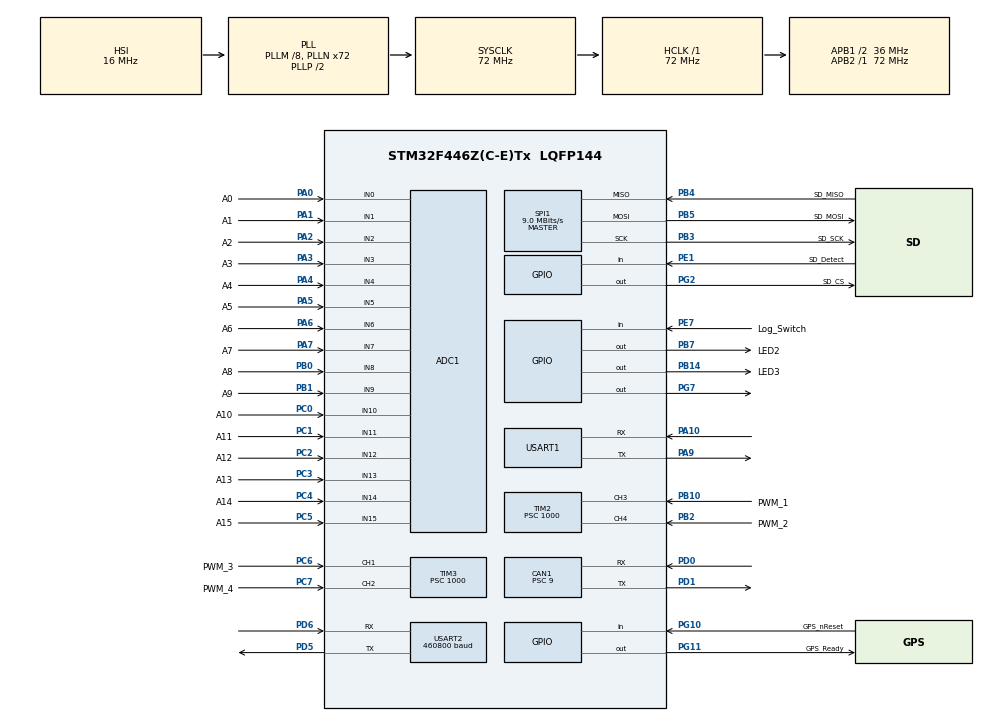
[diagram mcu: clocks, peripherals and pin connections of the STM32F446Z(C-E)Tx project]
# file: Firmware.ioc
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ADC1.Channel-0\#ChannelRegularConversion=ADC_CHANNEL_0
ADC1.Channel-1\#ChannelRegularConversion=ADC_CHANNEL_1
ADC1.Channel-10\#ChannelRegularConversion=ADC_CHANNEL_10
ADC1.Channel-11\#ChannelRegularConversion=ADC_CHANNEL_11
ADC1.Channel-12\#ChannelRegularConversion=ADC_CHANNEL_12
ADC1.Channel-13\#ChannelRegularConversion=ADC_CHANNEL_13
ADC1.Channel-14\#ChannelRegularConversion=ADC_CHANNEL_14
ADC1.Channel-15\#ChannelRegularConversion=ADC_CHANNEL_15
ADC1.Channel-2\#ChannelRegularConversion=ADC_CHANNEL_2
ADC1.Channel-3\#ChannelRegularConversion=ADC_CHANNEL_3
ADC1.Channel-4\#ChannelRegularConversion=ADC_CHANNEL_4
ADC1.Channel-5\#ChannelRegularConversion=ADC_CHANNEL_5
ADC1.Channel-6\#ChannelRegularConversion=ADC_CHANNEL_6
ADC1.Channel-7\#ChannelRegularConversion=ADC_CHANNEL_7
ADC1.Channel-8\#ChannelRegularConversion=ADC_CHANNEL_8
ADC1.Channel-9\#ChannelRegularConversion=ADC_CHANNEL_9
ADC1.ClockPrescaler=ADC_CLOCK_SYNC_PCLK_DIV4
ADC1.ContinuousConvMode=ENABLE
ADC1.DMAContinuousRequests=ENABLE
ADC1.NbrOfConversion=16
ADC1.NbrOfConversionFlag=1
ADC1.Rank-0\#ChannelRegularConversion=1
ADC1.Rank-1\#ChannelRegularConversion=2
ADC1.Rank-10\#ChannelRegularConversion=11
ADC1.Rank-11\#ChannelRegularConversion=12
ADC1.Rank-12\#ChannelRegularConversion=13
ADC1.Rank-13\#ChannelRegularConversion=14
ADC1.Rank-14\#ChannelRegularConversion=15
ADC1.Rank-15\#ChannelRegularConversion=16
ADC1.Rank-2\#ChannelRegularConversion=3
ADC1.Rank-3\#ChannelRegularConversion=4
ADC1.Rank-4\#ChannelRegularConversion=5
ADC1.Rank-5\#ChannelRegularConversion=6
ADC1.Rank-6\#ChannelRegularConversion=7
ADC1.Rank-7\#ChannelRegularConversion=8
ADC1.Rank-8\#ChannelRegularConversion=9
ADC1.Rank-9\#ChannelRegularConversion=10
ADC1.SamplingTime-0\#ChannelRegularConversion=ADC_SAMPLETIME_144CYCLES
ADC1.SamplingTime-1\#ChannelRegularConversion=ADC_SAMPLETIME_144CYCLES
ADC1.SamplingTime-10\#ChannelRegularConversion=ADC_SAMPLETIME_144CYCLES
ADC1.SamplingTime-11\#ChannelRegularConversion=ADC_SAMPLETIME_144CYCLES
ADC1.SamplingTime-12\#ChannelRegularConversion=ADC_SAMPLETIME_144CYCLES
ADC1.SamplingTime-13\#ChannelRegularConversion=ADC_SAMPLETIME_144CYCLES
ADC1.SamplingTime-14\#ChannelRegularConversion=ADC_SAMPLETIME_144CYCLES
ADC1.SamplingTime-15\#ChannelRegularConversion=ADC_SAMPLETIME_144CYCLES
ADC1.SamplingTime-2\#ChannelRegularConversion=ADC_SAMPLETIME_144CYCLES
ADC1.SamplingTime-3\#ChannelRegularConversion=ADC_SAMPLETIME_144CYCLES
ADC1.SamplingTime-4\#ChannelRegularConversion=ADC_SAMPLETIME_144CYCLES
ADC1.SamplingTime-5\#ChannelRegularConversion=ADC_SAMPLETIME_144CYCLES
ADC1.SamplingTime-6\#ChannelRegularConversion=ADC_SAMPLETIME_144CYCLES
ADC1.SamplingTime-7\#ChannelRegularConversion=ADC_SAMPLETIME_144CYCLES
ADC1.SamplingTime-8\#ChannelRegularConversion=ADC_SAMPLETIME_144CYCLES
ADC1.SamplingTime-9\#ChannelRegularConversion=ADC_SAMPLETIME_144CYCLES
ADC1.ScanConvMode=ENABLE
ADC1.master=1
CAN1.ABOM=ENABLE
CAN1.BS1=CAN_BS1_6TQ
CAN1.CalculateTimeQuantum=250.0
CAN1.Prescaler=9
Dma.ADC1.0.Direction=DMA_PERIPH_TO_MEMORY
Dma.ADC1.0.FIFOMode=DMA_FIFOMODE_DISABLE
Dma.ADC1.0.Instance=DMA2_Stream0
Dma.ADC1.0.MemDataAlignment=DMA_MDATAALIGN_HALFWORD
Dma.ADC1.0.MemInc=DMA_MINC_ENABLE
Dma.ADC1.0.Mode=DMA_CIRCULAR
Dma.ADC1.0.PeriphDataAlignment=DMA_PDATAALIGN_HALFWORD
Dma.ADC1.0.PeriphInc=DMA_PINC_DISABLE
Dma.ADC1.0.Priority=DMA_PRIORITY_LOW
Dma.Request0=ADC1
Dma.Request1=USART2_RX
Dma.USART2_RX.1.Direction=DMA_PERIPH_TO_MEMORY
Dma.USART2_RX.1.FIFOMode=DMA_FIFOMODE_DISABLE
Dma.USART2_RX.1.Instance=DMA1_Stream5
Dma.USART2_RX.1.MemDataAlignment=DMA_MDATAALIGN_BYTE
Dma.USART2_RX.1.MemInc=DMA_MINC_ENABLE
Dma.USART2_RX.1.Mode=DMA_NORMAL
Dma.USART2_RX.1.PeriphDataAlignment=DMA_PDATAALIGN_BYTE
Dma.USART2_RX.1.PeriphInc=DMA_PINC_DISABLE
Dma.USART2_RX.1.Priority=DMA_PRIORITY_LOW
FATFS._MAX_SS=4096
FATFS._USE_LFN=1
Mcu.Family=STM32F4
Mcu.Name=STM32F446Z(C-E)Tx
Mcu.Package=LQFP144
NVIC.CAN1_RX0_IRQn=true\:1\:0\:true\:false\:true\:true\:true
NVIC.DMA1_Stream5_IRQn=true\:0\:0\:false\:false\:true\:false\:true
NVIC.DMA2_Stream0_IRQn=true\:0\:0\:false\:false\:true\:false\:true
NVIC.PriorityGroup=NVIC_PRIORITYGROUP_4
NVIC.TIM2_IRQn=true\:2\:0\:true\:false\:true\:true\:true
NVIC.TIM3_IRQn=true\:2\:0\:true\:false\:true\:true\:true
NVIC.TIM6_DAC_IRQn=true\:0\:0\:false\:false\:true\:true\:true
NVIC.USART2_IRQn=true\:0\:0\:false\:false\:true\:true\:true
PA0-WKUP.GPIO_Label=A0
PA0-WKUP.Signal=ADCx_IN0
PA1.GPIO_Label=A1
PA1.Signal=ADCx_IN1
PA10.Mode=Asynchronous
PA10.Signal=USART1_RX
PA13.Mode=Serial_Wire
PA13.Signal=SYS_JTMS-SWDIO
PA14.Mode=Serial_Wire
PA14.Signal=SYS_JTCK-SWCLK
PA2.GPIO_Label=A2
PA2.Signal=ADCx_IN2
PA3.GPIO_Label=A3
PA3.Signal=ADCx_IN3
PA4.GPIO_Label=A4
PA4.Signal=ADCx_IN4
PA5.GPIO_Label=A5
PA5.Signal=ADCx_IN5
PA6.GPIO_Label=A6
PA6.Signal=ADCx_IN6
PA7.GPIO_Label=A7
PA7.Signal=ADCx_IN7
PA9.Mode=Asynchronous
PA9.Signal=USART1_TX
PB0.GPIO_Label=A8
PB0.Signal=ADCx_IN8
PB1.GPIO_Label=A9
PB1.Signal=ADCx_IN9
PB10.GPIO_Label=PWM_1
PB10.GPIO_PuPd=GPIO_NOPULL
PB10.Signal=S_TIM2_CH3
PB14.GPIO_Label=LED3
PB14.Signal=GPIO_Output
PB2.GPIO_Label=PWM_2
PB2.GPIO_PuPd=GPIO_NOPULL
PB2.Signal=S_TIM2_CH4
PB3.GPIO_Label=SD_SCK
PB3.Mode=Full_Duplex_Master
PB3.Signal=SPI1_SCK
PB4.GPIO_Label=SD_MISO
PB4.Mode=Full_Duplex_Master
PB4.Signal=SPI1_MISO
PB5.GPIO_Label=SD_MOSI
PB5.Mode=Full_Duplex_Master
PB5.Signal=SPI1_MOSI
PB7.GPIO_Label=LED2
PB7.Signal=GPIO_Output
PC0.GPIO_Label=A10
PC0.Signal=ADCx_IN10
PC1.GPIO_Label=A11
PC1.Signal=ADCx_IN11
PC14-OSC32_IN.Mode=LSE-External-Oscillator
PC14-OSC32_IN.Signal=RCC_OSC32_IN
PC15-OSC32_OUT.Mode=LSE-External-Oscillator
PC15-OSC32_OUT.Signal=RCC_OSC32_OUT
PC2.GPIO_Label=A12
PC2.Signal=ADCx_IN12
PC3.GPIO_Label=A13
PC3.Signal=ADCx_IN13
PC4.GPIO_Label=A14
PC4.Signal=ADCx_IN14
PC5.GPIO_Label=A15
PC5.Signal=ADCx_IN15
PC6.GPIO_Label=PWM_3
PC6.GPIO_PuPd=GPIO_NOPULL
PC6.Signal=S_TIM3_CH1
PC7.GPIO_Label=PWM_4
PC7.GPIO_PuPd=GPIO_NOPULL
PC7.Signal=S_TIM3_CH2
PD0.GPIO_PuPd=GPIO_PULLUP
PD0.Mode=Master
PD0.Signal=CAN1_RX
PD1.GPIO_PuPd=GPIO_PULLUP
PD1.Mode=Master
PD1.Signal=CAN1_TX
PD5.Mode=Asynchronous
PD5.Signal=USART2_TX
PD6.Mode=Asynchronous
PD6.Signal=USART2_RX
PE1.GPIO_Label=SD_Detect
PE1.GPIO_PuPd=GPIO_PULLUP
PE1.Signal=GPIO_Input
PE7.GPIO_Label=Log_Switch
PE7.Signal=GPIO_Input
PG10.GPIO_Label=GPS_nReset
PG10.Signal=GPIO_Input
PG11.GPIO_Label=GPS_Ready
PG11.PinState=GPIO_PIN_SET
PG11.Signal=GPIO_Output
PG2.GPIO_Label=SD_CS
PG2.Signal=GPIO_Output
PG7.Signal=GPIO_Output
ProjectManager.HeapSize=0x200
ProjectManager.StackSize=0x400
ProjectManager.TargetToolchain=STM32CubeIDE
RCC.AHBFreq_Value=72000000
RCC.APB1CLKDivider=RCC_HCLK_DIV2
RCC.APB1Freq_Value=36000000
RCC.APB1TimFreq_Value=72000000
RCC.APB2Freq_Value=72000000
RCC.APB2TimFreq_Value=72000000
RCC.CortexFreq_Value=72000000
RCC.HCLKFreq_Value=72000000
RCC.HSE_VALUE=25000000
RCC.PLLM=8
RCC.PLLN=72
RCC.RCC_RTC_Clock_SourceVirtual=RCC_RTCCLKSOURCE_LSE
RCC.SYSCLKFreq_VALUE=72000000
RCC.SYSCLKSource=RCC_SYSCLKSOURCE_PLLCLK
RCC.USBFreq_Value=72000000
RCC.VCOOutputFreq_Value=144000000
RTC.Date=5
RTC.HourFormat=RTC_HOURFORMAT_24
RTC.Hours=16
RTC.Minutes=48
RTC.Month=RTC_MONTH_MARCH
RTC.Seconds=30
RTC.WeekDay=RTC_WEEKDAY_THURSDAY
RTC.Year=20
SH.ADCx_IN0.0=ADC1_IN0,IN0
SH.ADCx_IN1.0=ADC1_IN1,IN1
SH.ADCx_IN10.0=ADC1_IN10,IN10
SH.ADCx_IN11.0=ADC1_IN11,IN11
SH.ADCx_IN12.0=ADC1_IN12,IN12
SH.ADCx_IN13.0=ADC1_IN13,IN13
SH.ADCx_IN14.0=ADC1_IN14,IN14
SH.ADCx_IN15.0=ADC1_IN15,IN15
SH.ADCx_IN2.0=ADC1_IN2,IN2
SH.ADCx_IN3.0=ADC1_IN3,IN3
SH.ADCx_IN4.0=ADC1_IN4,IN4
SH.ADCx_IN5.0=ADC1_IN5,IN5
SH.ADCx_IN6.0=ADC1_IN6,IN6
SH.ADCx_IN7.0=ADC1_IN7,IN7
SH.ADCx_IN8.0=ADC1_IN8,IN8
SH.ADCx_IN9.0=ADC1_IN9,IN9
SH.S_TIM2_CH3.0=TIM2_CH3,Input_Capture3_from_TI3
SH.S_TIM2_CH4.0=TIM2_CH4,Input_Capture4_from_TI4
SH.S_TIM3_CH1.0=TIM3_CH1,Input_Capture1_from_TI1
SH.S_TIM3_CH2.0=TIM3_CH2,Input_Capture2_from_TI2
SPI1.BaudRatePrescaler=SPI_BAUDRATEPRESCALER_8
SPI1.CalculateBaudRate=9.0 MBits/s
SPI1.Direction=SPI_DIRECTION_2LINES
SPI1.Mode=SPI_MODE_MASTER
SPI1.VirtualType=VM_MASTER
TIM2.Channel-Input_Capture3_from_TI3=TIM_CHANNEL_3
TIM2.Channel-Input_Capture4_from_TI4=TIM_CHANNEL_4
TIM2.Period=0xffff
TIM2.Prescaler=1000
TIM3.Channel-Input_Capture1_from_TI1=TIM_CHANNEL_1
TIM3.Channel-Input_Capture2_from_TI2=TIM_CHANNEL_2
TIM3.Period=0xffff
TIM3.Prescaler=1000
TIM6.AutoReloadPreload=TIM_AUTORELOAD_PRELOAD_DISABLE
TIM6.Period=7199
TIM6.Prescaler=224
TIM6.TIM_MasterOutputTrigger=TIM_TRGO_UPDATE
USART1.VirtualMode=VM_ASYNC
USART2.BaudRate=460800
USART2.VirtualMode=VM_ASYNC
VP_FATFS_VS_Generic.Mode=User_defined
VP_RTC_VS_RTC_Activate.Mode=RTC_Enabled
VP_RTC_VS_RTC_Calendar.Mode=RTC_Calendar
VP_TIM6_VS_ClockSourceINT.Mode=Enable_Timer
board=custom

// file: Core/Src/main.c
/* USER CODE BEGIN Header */
/**
 ******************************************************************************
 * @file           : main.c
 * @brief          : Main program body
 ******************************************************************************
 * @attention
 *
 * <h2><center>&copy; Copyright (c) 2020 STMicroelectronics.
 * All rights reserved.</center></h2>
 *
 * This software component is licensed by ST under BSD 3-Clause license,
 * the "License"; You may not use this file except in compliance with the
 * License. You may obtain a copy of the License at:
 *                        opensource.org/licenses/BSD-3-Clause
 *
 ******************************************************************************
 */
/* USER CODE END Header */

#include "main.h"
#include "fatfs.h"

/* USER CODE BEGIN Includes */
#include "fatfs_sd.h"
#include "string.h"
/* USER CODE END Includes */

/* USER CODE BEGIN PD */
#define ADC_BUF_LEN 1024
#define uart_rx_buffer_len 256
/* USER CODE END PD */

ADC_HandleTypeDef hadc1;
DMA_HandleTypeDef hdma_adc1;

CAN_HandleTypeDef hcan1;

RTC_HandleTypeDef hrtc;

SPI_HandleTypeDef hspi1;

TIM_HandleTypeDef htim2;
TIM_HandleTypeDef htim3;
TIM_HandleTypeDef htim6;

UART_HandleTypeDef huart1;
UART_HandleTypeDef huart2;
DMA_HandleTypeDef hdma_usart2_rx;

void SystemClock_Config(void);
static void MX_GPIO_Init(void);
static void MX_DMA_Init(void);
static void MX_ADC1_Init(void);
static void MX_SPI1_Init(void);
static void MX_TIM6_Init(void);
static void MX_USART1_UART_Init(void);
static void MX_RTC_Init(void);
static void MX_USART2_UART_Init(void);
static void MX_CAN1_Init(void);
static void MX_TIM2_Init(void);
static void MX_TIM3_Init(void);

/* USER CODE BEGIN 0 */
FATFS fs;
FIL fil;
FRESULT fresult;

UINT br, bw;

FATFS *pfs;
DWORD fre_clust;
uint32_t total, free_space;

char timestamp[20]; //Char array used to store a timestamp from the RTC
char datalogName[32]; //The name of the datalog .csv file
char headers[1024]; //The headers to be applied to the .csv
char latitude[20]; //The latitude received from the GPS
char longitude[20]; //The longitude received from the GPS
char altitude[20]; //The latitude received from the GPS
float scaling_factors[20]; //The scaling factors to be applied to the various data, 0-15 for ADC, 16-19 for PWM
uint8_t CANresponse[50]; //The response received from the CAN
CAN_RxHeaderTypeDef RxCanHeader; //The header associated with the CAN data

uint32_t raw_ADC[16]; //The raw ADC data before any modification

uint32_t total_ADC[16]; //the ADC data totaled
float ADC_Array[16]; //The useful ADC data
uint16_t adc_buf[ADC_BUF_LEN]; //Circular buffer collecting ADC data
char uart_rx_buffer[uart_rx_buffer_len]; //Circular buffer collecting UART data
char gps_msg[uart_rx_buffer_len]; //The uart message received from the GPS
int initialized = 0; //Boolean to check if initialization is done, lets the interrupts run
int counter = 5; //Counter used to create a 10Hz function
float ADC_MAX = 3755; //The max value the ADC can read

//PWM sample arrays
uint32_t IC_Value1[4];
uint32_t IC_Value2[4];
uint32_t difference[4];
uint32_t frequency[4];
uint8_t is_first[4];

void HAL_TIM_IC_CaptureCallback(TIM_HandleTypeDef *htim) { //input capture callback. gets raised by an interrupt during a rising edge
	if (initialized) {
		uint32_t  channel = 0;
		uint32_t actual_channel=0;

		//set up the TIM_CHANNEL_X macro to make the HAL Happy
		if (htim->Channel == HAL_TIM_ACTIVE_CHANNEL_1){
			channel = 0;
			actual_channel = TIM_CHANNEL_1;
		} else if (htim->Channel == HAL_TIM_ACTIVE_CHANNEL_2){
			channel = 1;
			actual_channel = TIM_CHANNEL_2;
		} else if(htim->Channel == HAL_TIM_ACTIVE_CHANNEL_3){
			channel = 2;
			actual_channel = TIM_CHANNEL_3;
		} else if(htim->Channel == HAL_TIM_ACTIVE_CHANNEL_4){
			channel = 3;
			actual_channel = TIM_CHANNEL_4;
		} else {
			Error_Handler(); //otherwise, raise an error
		}

		if (is_first[channel] == 0) { //if this is the first rising edge of a pair
			IC_Value1[channel] = HAL_TIM_ReadCapturedValue(htim, actual_channel); //store the current time
			is_first[channel] = 1; //flag that the next value will be the second rising edge
		} else if (is_first[channel] == 1) { //if second rising edge of a pair
			IC_Value2[channel] = HAL_TIM_ReadCapturedValue(htim, actual_channel); //store the current time
			if (IC_Value2[channel] > IC_Value1[channel]) { //if the second time is after the first time
				difference[channel] = IC_Value2[channel] - IC_Value1[channel]; //calculate period
			} else if (IC_Value2[channel] < IC_Value1[channel]) { //if the first time is after the second time (can be caused due to interrupts)
				difference[channel] = ((0xffff - IC_Value1[channel]) + IC_Value2[channel]) + 1; //take absolute value and calculate period
			} else {
				Error_Handler(); //otherwise, raise an error
			}
			//frequency = apb2 tim clock/difference/prescaler
			frequency[channel] = 72000000 / difference[channel] / 1000;
			is_first[channel] = 0; //start flag again
		}
	}
}

void float_to_string(char *buffer, float input) {
	sprintf(buffer, "%.3f", input);
}
//Function called by 50Hz timer interrupt
void HAL_TIM_PeriodElapsedCallback(TIM_HandleTypeDef *htim) {
	if (initialized) { //if (initialized && HAL_GPIO_ReadPin(Log_Switch_GPIO_Port, Log_Switch_Pin)) { //Check if initialization is done
		GPIO_PinState SD_Connected = !HAL_GPIO_ReadPin(SD_Detect_GPIO_Port,
				SD_Detect_Pin); //active low
		HAL_GPIO_WritePin(LED2_GPIO_Port, LED2_Pin, GPIO_PIN_RESET);
		char sADC_Array[16][128]; //temp array used to store the scaled ADC data
		char sADC_msg[128] = { }; //Char array for the ADC data
		for (int i = 0; i < 16; i++) {
			ADC_Array[i] = raw_ADC[i] / ADC_MAX * 3.3 * scaling_factors[i]; //scale the array
			float_to_string(sADC_Array[i], ADC_Array[i]); //convert to string
			if (i == 0) { //Check if this is the first data value to ensure formating in the .csv file
				sprintf(sADC_msg, "%s", sADC_Array[i]); //append string to adc value string
			} else {
				sprintf(sADC_msg, "%s,%s", sADC_msg, sADC_Array[i]); //append string to adc value string
			}
		}

		//Apply the scaling factors to the PWM data
		uint32_t f1_scaled = frequency[0] * scaling_factors[16];
		uint32_t f2_scaled = frequency[1] * scaling_factors[17];
		uint32_t f3_scaled = frequency[2] * scaling_factors[18];
		uint32_t f4_scaled = frequency[3] * scaling_factors[19];

		char *msg[4096]; //msg used to write data to the .csv
		get_time(); //get an updated timestamp for the data
		sprintf(msg, "%s,%s,%s,%s,%s,%d,%d,%d,%d,%d\n", timestamp, latitude,
				longitude, altitude, sADC_msg, f1_scaled, f2_scaled, f3_scaled,
				f4_scaled, CANresponse[0]); //compile the data into the msg
		fresult = f_write(&fil, msg, strlen(msg), &bw); //write to the .csv
		counter--; //Decrement the counter, used to create a 10Hz function
		if (counter == 0) { //10hz function
			f_close(&fil); //close the sd card
			fresult = f_open(&fil, datalogName,
			FA_OPEN_APPEND | FA_READ | FA_WRITE); //re-open the sd card so new data can be written
			counter = 5; //reset the counter
		}
		if (SD_Connected) { //check if there is an SD card in the slot
			HAL_GPIO_WritePin(LED2_GPIO_Port, LED2_Pin, GPIO_PIN_SET);
		}
	}
}

//Function to get time from RTC
void get_time(void) {
	RTC_DateTypeDef gDate;
	RTC_TimeTypeDef gTime;
	/* Get the RTC current Time */
	HAL_RTC_GetTime(&hrtc, &gTime, RTC_FORMAT_BIN);
	/* Get the RTC current Date */
	HAL_RTC_GetDate(&hrtc, &gDate, RTC_FORMAT_BIN);
	/* Display time Format: hh:mm:ss */
	sprintf((char*) timestamp, "%02d-%02d-%02d_%02d-%02d-%2d", gTime.Hours,
			gTime.Minutes, gTime.Seconds, gDate.Date, gDate.Month,
			2000 + gDate.Year);
}

/* USER CODE END 0 */

int main(void)
{

  /* MCU Configuration--------------------------------------------------------*/

  /* Reset of all peripherals, Initializes the Flash interface and the Systick. */
  HAL_Init();

  /* Configure the system clock */
  SystemClock_Config();

  /* USER CODE BEGIN SysInit */
	for (int j = 0; j < 16; j++) {
		total_ADC[j] = 0;
	}
  /* USER CODE END SysInit */

  /* Initialize all configured peripherals */
  MX_GPIO_Init();
  MX_DMA_Init();
  MX_ADC1_Init();
  MX_SPI1_Init();
  MX_TIM6_Init();
  MX_FATFS_Init();
  MX_USART1_UART_Init();
  MX_RTC_Init();
  MX_USART2_UART_Init();
  MX_CAN1_Init();
  MX_TIM2_Init();
  MX_TIM3_Init();
  /* USER CODE BEGIN 2 */

	//Define the CAN Filter configuration
	CAN_FilterTypeDef filterConfig;

	filterConfig.FilterBank = 14;
	filterConfig.FilterActivation = ENABLE;
	filterConfig.FilterFIFOAssignment = 0;
	filterConfig.FilterMaskIdLow = 0x0000;
	filterConfig.FilterMaskIdHigh = 0x0000;
	filterConfig.FilterIdHigh = 0x0000;
	filterConfig.FilterIdLow = 0x0000;
	filterConfig.FilterScale = CAN_FILTERSCALE_32BIT;
	filterConfig.FilterMode = CAN_FILTERMODE_IDMASK;

	HAL_CAN_ConfigFilter(&hcan1, &filterConfig); //Assign the filter

	HAL_CAN_Start(&hcan1); //Activate CAN
	HAL_CAN_ActivateNotification(&hcan1, CAN_IT_RX_FIFO0_MSG_PENDING); //Activate CAN interrupts

	//Enable timer interrupts
	HAL_TIM_Base_Start_IT(&htim6);
	HAL_ADC_Start_DMA(&hadc1, (uint32_t*) adc_buf, ADC_BUF_LEN);
	HAL_UART_Receive_DMA(&huart2, uart_rx_buffer, uart_rx_buffer_len);

	//ENable PWM Interrupt
	HAL_StatusTypeDef PWM_Response1 = HAL_TIM_IC_Start_IT(&htim2, TIM_CHANNEL_4);
	HAL_StatusTypeDef PWM_Response2 = HAL_TIM_IC_Start_IT(&htim2, TIM_CHANNEL_3);
	HAL_StatusTypeDef PWM_Response3 = HAL_TIM_IC_Start_IT(&htim3, TIM_CHANNEL_1);
	HAL_StatusTypeDef PWM_Response4 = HAL_TIM_IC_Start_IT(&htim3, TIM_CHANNEL_2);

	//Build the name of the datalog from the time
	get_time();
	sprintf(datalogName, "datalog_%s.csv", timestamp);

	//Mount SD Card
	fresult = f_mount(&fs, "", 0);

	//Get total and free space
	f_getfree("", &fre_clust, &pfs);
	total = (uint32_t) ((pfs->n_fatent - 2) * pfs->csize * 0.5);
	free_space = (uint32_t) (fre_clust * pfs->csize * 0.5);

	//Open and read the config file from the SD card
	fresult = f_open(&fil, "config.txt",
	FA_OPEN_EXISTING | FA_READ); //Try to open an existing config file
	if (fresult == FR_OK) { //if the file exists, read from it
		int scaling_Index = 0; //index for the scaling_factors array
		char fileRead[512]; //temp buffer for the input from the config file
		while (f_gets(fileRead, 512, &fil)) { //Loop while there is more to read from the config
			if (fileRead[0] != '/' && fileRead[1] != '/'
					&& fileRead[0] != '\n') { //Ignore comment lines in the config
				char *temp;
				temp = strtok(fileRead, ":"); //Split the string along :
				temp = strtok(NULL, ":"); //Ignore the first :
				if (temp[strlen(temp) - 1] == '\n') { //Check for and remove unwanted \n
					temp[strlen(temp) - 1] = '\0';
				}
				if (strlen(headers) == 0) { //Check for the first header being written
					sprintf(headers, "%s", temp); //Write the header to the headers array
				} else {
					sprintf(headers, "%s,%s", headers, temp); //Append the header to the headers array
				}
				temp = strtok(NULL, ":"); //Get the final token
				if (temp != NULL) { //Check for a scaling factor
					scaling_factors[scaling_Index] = atof(temp); //Add the scaling factor to the list of scaling factor
					scaling_Index++;
				}
			}
		}
		//Write the headers into the file
		fresult = f_open(&fil, datalogName,
		FA_OPEN_APPEND | FA_READ | FA_WRITE);
		sprintf(headers, "%s\n", headers);
		fresult = f_write(&fil, headers, strlen(headers), &bw);
		f_close(&fil);
	} else { //Config file not found
		fresult = f_open(&fil, datalogName,
		FA_OPEN_APPEND | FA_READ | FA_WRITE);
		fresult =
				f_write(&fil,
						"config.txt not found it has been rebuilt. The data here has not been scaled and falls under default headers,\n",
						109, &bw); //Inform the user in the datalog that the config wasn't found
		fresult =
				f_write(&fil,
						"Timestamp,Latitude,Longitude,Altitude,A0,A1,A2,A3,A4,A5,A6,A7,A8,A9,A10,A11,A12,A13,A14,A15,PWM0,PWM1,PWM2,PWM3,\n",
						113, &bw); //Apply basic headers to the datalog

		f_close(&fil);
		fresult = f_open(&fil, "config.txt", //Reconstruct the config file
		FA_OPEN_ALWAYS | FA_READ | FA_WRITE);
		fresult =
				f_write(&fil,
						"//The Order of the headers must be maintained (GPS,Analog,PWM,CAN)\n//Lines with " "//" " "
								"at the beginning will be ignored\n//Do NOT include any commas in the headers\n\n//GPS Headers (Input:Header)\nTime:Timestamp\nLat:Latitude\nLong:Longitude\nAlt:Altitude\n\n//Analog Inputs (Input:Header:Scaling Factor)\nA0:N/A:1\nA1:N/A:1\nA2:N/A:1\nA3:N/A:1\nA4:N/A:1\nA5:N/A:1\nA6:N/A:1\nA7:N/A:1\nA8:N/A:1\nA9:N/A:1\nA10:N/A:1\nA11:N/A:1\n"
								"A12:N/A:1\nA13:N/A:1\nA14:N/A:1\nA15:N/A:1\n\n//PWM Inputs (Input:Header:Scaling Factor)\nPWM0:N/A:1\nPWM1:N/A:1\n"
								"PWM2:N/A:1\nPWM3:N/A:1", 529, &bw);
		f_close(&fil);

		for (int i = 0; i < 20; i++) { //set the scaling factors to 1 to retain raw data
			scaling_factors[i] = 1;
		}
	}

	//Assign values to lat, long, and alt
	sprintf(latitude, "0.00");
	sprintf(longitude, "0.00");
	sprintf(altitude, "0.00");

	//Open the datalog file in preparation for new data to be written
	fresult = f_open(&fil, datalogName,
	FA_OPEN_APPEND | FA_READ | FA_WRITE);

	//Initialization complete, allow interrupts to progress
	initialized = 1;

  /* USER CODE END 2 */

  /* Infinite loop */
	while (1) {

    /* USER CODE BEGIN 3 */
	}
	HAL_TIM_Base_Stop_IT(&htim6);
  /* USER CODE END 3 */
}

void SystemClock_Config(void)
{
  RCC_OscInitTypeDef RCC_OscInitStruct = {0};
  RCC_ClkInitTypeDef RCC_ClkInitStruct = {0};
  RCC_PeriphCLKInitTypeDef PeriphClkInitStruct = {0};

  /** Configure the main internal regulator output voltage
  */
  __HAL_RCC_PWR_CLK_ENABLE();
  __HAL_PWR_VOLTAGESCALING_CONFIG(PWR_REGULATOR_VOLTAGE_SCALE3);
  /** Initializes the CPU, AHB and APB busses clocks
  */
  RCC_OscInitStruct.OscillatorType = RCC_OSCILLATORTYPE_HSI|RCC_OSCILLATORTYPE_LSE;
  RCC_OscInitStruct.LSEState = RCC_LSE_ON;
  RCC_OscInitStruct.HSIState = RCC_HSI_ON;
  RCC_OscInitStruct.HSICalibrationValue = RCC_HSICALIBRATION_DEFAULT;
  RCC_OscInitStruct.PLL.PLLState = RCC_PLL_ON;
  RCC_OscInitStruct.PLL.PLLSource = RCC_PLLSOURCE_HSI;
  RCC_OscInitStruct.PLL.PLLM = 8;
  RCC_OscInitStruct.PLL.PLLN = 72;
  RCC_OscInitStruct.PLL.PLLP = RCC_PLLP_DIV2;
  RCC_OscInitStruct.PLL.PLLQ = 2;
  RCC_OscInitStruct.PLL.PLLR = 2;
  if (HAL_RCC_OscConfig(&RCC_OscInitStruct) != HAL_OK)
  {
    Error_Handler();
  }
  /** Initializes the CPU, AHB and APB busses clocks
  */
  RCC_ClkInitStruct.ClockType = RCC_CLOCKTYPE_HCLK|RCC_CLOCKTYPE_SYSCLK
                              |RCC_CLOCKTYPE_PCLK1|RCC_CLOCKTYPE_PCLK2;
  RCC_ClkInitStruct.SYSCLKSource = RCC_SYSCLKSOURCE_PLLCLK;
  RCC_ClkInitStruct.AHBCLKDivider = RCC_SYSCLK_DIV1;
  RCC_ClkInitStruct.APB1CLKDivider = RCC_HCLK_DIV2;
  RCC_ClkInitStruct.APB2CLKDivider = RCC_HCLK_DIV1;

  if (HAL_RCC_ClockConfig(&RCC_ClkInitStruct, FLASH_LATENCY_2) != HAL_OK)
  {
    Error_Handler();
  }
  PeriphClkInitStruct.PeriphClockSelection = RCC_PERIPHCLK_RTC;
  PeriphClkInitStruct.RTCClockSelection = RCC_RTCCLKSOURCE_LSE;
  if (HAL_RCCEx_PeriphCLKConfig(&PeriphClkInitStruct) != HAL_OK)
  {
    Error_Handler();
  }
}

static void MX_ADC1_Init(void)
{

  ADC_ChannelConfTypeDef sConfig = {0};

  /** Configure the global features of the ADC (Clock, Resolution, Data Alignment and number of conversion)
  */
  hadc1.Instance = ADC1;
  hadc1.Init.ClockPrescaler = ADC_CLOCK_SYNC_PCLK_DIV4;
  hadc1.Init.Resolution = ADC_RESOLUTION_12B;
  hadc1.Init.ScanConvMode = ENABLE;
  hadc1.Init.ContinuousConvMode = ENABLE;
  hadc1.Init.DiscontinuousConvMode = DISABLE;
  hadc1.Init.ExternalTrigConvEdge = ADC_EXTERNALTRIGCONVEDGE_NONE;
  hadc1.Init.ExternalTrigConv = ADC_SOFTWARE_START;
  hadc1.Init.DataAlign = ADC_DATAALIGN_RIGHT;
  hadc1.Init.NbrOfConversion = 16;
  hadc1.Init.DMAContinuousRequests = ENABLE;
  hadc1.Init.EOCSelection = ADC_EOC_SINGLE_CONV;
  if (HAL_ADC_Init(&hadc1) != HAL_OK)
  {
    Error_Handler();
  }
  /** Configure for the selected ADC regular channel its corresponding rank in the sequencer and its sample time.
  */
  sConfig.Channel = ADC_CHANNEL_0;
  sConfig.Rank = 1;
  sConfig.SamplingTime = ADC_SAMPLETIME_144CYCLES;
  if (HAL_ADC_ConfigChannel(&hadc1, &sConfig) != HAL_OK)
  {
    Error_Handler();
  }
  /** Configure for the selected ADC regular channel its corresponding rank in the sequencer and its sample time.
  */
  sConfig.Channel = ADC_CHANNEL_1;
  sConfig.Rank = 2;
  if (HAL_ADC_ConfigChannel(&hadc1, &sConfig) != HAL_OK)
  {
    Error_Handler();
  }
  /** Configure for the selected ADC regular channel its corresponding rank in the sequencer and its sample time.
  */
  sConfig.Channel = ADC_CHANNEL_2;
  sConfig.Rank = 3;
  if (HAL_ADC_ConfigChannel(&hadc1, &sConfig) != HAL_OK)
  {
    Error_Handler();
  }
  /** Configure for the selected ADC regular channel its corresponding rank in the sequencer and its sample time.
  */
  sConfig.Channel = ADC_CHANNEL_3;
  sConfig.Rank = 4;
  if (HAL_ADC_ConfigChannel(&hadc1, &sConfig) != HAL_OK)
  {
    Error_Handler();
  }
  /** Configure for the selected ADC regular channel its corresponding rank in the sequencer and its sample time.
  */
  sConfig.Channel = ADC_CHANNEL_4;
  sConfig.Rank = 5;
  if (HAL_ADC_ConfigChannel(&hadc1, &sConfig) != HAL_OK)
  {
    Error_Handler();
  }
  /** Configure for the selected ADC regular channel its corresponding rank in the sequencer and its sample time.
  */
  sConfig.Channel = ADC_CHANNEL_5;
  sConfig.Rank = 6;
  if (HAL_ADC_ConfigChannel(&hadc1, &sConfig) != HAL_OK)
  {
    Error_Handler();
  }
  /** Configure for the selected ADC regular channel its corresponding rank in the sequencer and its sample time.
  */
  sConfig.Channel = ADC_CHANNEL_6;
  sConfig.Rank = 7;
  if (HAL_ADC_ConfigChannel(&hadc1, &sConfig) != HAL_OK)
  {
    Error_Handler();
  }
  /** Configure for the selected ADC regular channel its corresponding rank in the sequencer and its sample time.
  */
  sConfig.Channel = ADC_CHANNEL_7;
  sConfig.Rank = 8;
  if (HAL_ADC_ConfigChannel(&hadc1, &sConfig) != HAL_OK)
  {
    Error_Handler();
  }
  /** Configure for the selected ADC regular channel its corresponding rank in the sequencer and its sample time.
  */
  sConfig.Channel = ADC_CHANNEL_8;
  sConfig.Rank = 9;
  if (HAL_ADC_ConfigChannel(&hadc1, &sConfig) != HAL_OK)
  {
    Error_Handler();
  }
  /** Configure for the selected ADC regular channel its corresponding rank in the sequencer and its sample time.
  */
  sConfig.Channel = ADC_CHANNEL_9;
  sConfig.Rank = 10;
  if (HAL_ADC_ConfigChannel(&hadc1, &sConfig) != HAL_OK)
  {
    Error_Handler();
  }
  /** Configure for the selected ADC regular channel its corresponding rank in the sequencer and its sample time.
  */
  sConfig.Channel = ADC_CHANNEL_10;
  sConfig.Rank = 11;
  if (HAL_ADC_ConfigChannel(&hadc1, &sConfig) != HAL_OK)
  {
    Error_Handler();
  }
  /** Configure for the selected ADC regular channel its corresponding rank in the sequencer and its sample time.
  */
  sConfig.Channel = ADC_CHANNEL_11;
  sConfig.Rank = 12;
  if (HAL_ADC_ConfigChannel(&hadc1, &sConfig) != HAL_OK)
  {
    Error_Handler();
  }
  /** Configure for the selected ADC regular channel its corresponding rank in the sequencer and its sample time.
  */
  sConfig.Channel = ADC_CHANNEL_12;
  sConfig.Rank = 13;
  if (HAL_ADC_ConfigChannel(&hadc1, &sConfig) != HAL_OK)
  {
    Error_Handler();
  }
  /** Configure for the selected ADC regular channel its corresponding rank in the sequencer and its sample time.
  */
  sConfig.Channel = ADC_CHANNEL_13;
  sConfig.Rank = 14;
  if (HAL_ADC_ConfigChannel(&hadc1, &sConfig) != HAL_OK)
  {
    Error_Handler();
  }
  /** Configure for the selected ADC regular channel its corresponding rank in the sequencer and its sample time.
  */
  sConfig.Channel = ADC_CHANNEL_14;
  sConfig.Rank = 15;
  if (HAL_ADC_ConfigChannel(&hadc1, &sConfig) != HAL_OK)
  {
    Error_Handler();
  }
  /** Configure for the selected ADC regular channel its corresponding rank in the sequencer and its sample time.
  */
  sConfig.Channel = ADC_CHANNEL_15;
  sConfig.Rank = 16;
  if (HAL_ADC_ConfigChannel(&hadc1, &sConfig) != HAL_OK)
  {
    Error_Handler();
  }

}

static void MX_CAN1_Init(void)
{

  hcan1.Instance = CAN1;
  hcan1.Init.Prescaler = 9;
  hcan1.Init.Mode = CAN_MODE_NORMAL;
  hcan1.Init.SyncJumpWidth = CAN_SJW_1TQ;
  hcan1.Init.TimeSeg1 = CAN_BS1_6TQ;
  hcan1.Init.TimeSeg2 = CAN_BS2_1TQ;
  hcan1.Init.TimeTriggeredMode = DISABLE;
  hcan1.Init.AutoBusOff = ENABLE;
  hcan1.Init.AutoWakeUp = DISABLE;
  hcan1.Init.AutoRetransmission = DISABLE;
  hcan1.Init.ReceiveFifoLocked = DISABLE;
  hcan1.Init.TransmitFifoPriority = DISABLE;
  if (HAL_CAN_Init(&hcan1) != HAL_OK)
  {
    Error_Handler();
  }

}

static void MX_RTC_Init(void)
{

  RTC_TimeTypeDef sTime = {0};
  RTC_DateTypeDef sDate = {0};

  /** Initialize RTC Only
  */
  hrtc.Instance = RTC;
  hrtc.Init.HourFormat = RTC_HOURFORMAT_24;
  hrtc.Init.AsynchPrediv = 127;
  hrtc.Init.SynchPrediv = 255;
  hrtc.Init.OutPut = RTC_OUTPUT_DISABLE;
  hrtc.Init.OutPutPolarity = RTC_OUTPUT_POLARITY_HIGH;
  hrtc.Init.OutPutType = RTC_OUTPUT_TYPE_OPENDRAIN;
  if (HAL_RTC_Init(&hrtc) != HAL_OK)
  {
    Error_Handler();
  }

  /* USER CODE BEGIN Check_RTC_BKUP */
	if (HAL_RTCEx_BKUPRead(&hrtc, RTC_BKP_DR1) != 0x32F2) {
  /* USER CODE END Check_RTC_BKUP */

  /** Initialize RTC and set the Time and Date
  */
  sTime.Hours = 0x16;
  sTime.Minutes = 0x48;
  sTime.Seconds = 0x30;
  sTime.DayLightSaving = RTC_DAYLIGHTSAVING_NONE;
  sTime.StoreOperation = RTC_STOREOPERATION_RESET;
  if (HAL_RTC_SetTime(&hrtc, &sTime, RTC_FORMAT_BCD) != HAL_OK)
  {
    Error_Handler();
  }
  sDate.WeekDay = RTC_WEEKDAY_THURSDAY;
  sDate.Month = RTC_MONTH_MARCH;
  sDate.Date = 0x5;
  sDate.Year = 0x20;

  if (HAL_RTC_SetDate(&hrtc, &sDate, RTC_FORMAT_BCD) != HAL_OK)
  {
    Error_Handler();
  }
  /* USER CODE BEGIN RTC_Init 2 */
		HAL_RTCEx_BKUPWrite(&hrtc, RTC_BKP_DR1, 0x32F2);
	}
  /* USER CODE END RTC_Init 2 */

}

static void MX_SPI1_Init(void)
{

  /* SPI1 parameter configuration*/
  hspi1.Instance = SPI1;
  hspi1.Init.Mode = SPI_MODE_MASTER;
  hspi1.Init.Direction = SPI_DIRECTION_2LINES;
  hspi1.Init.DataSize = SPI_DATASIZE_8BIT;
  hspi1.Init.CLKPolarity = SPI_POLARITY_LOW;
  hspi1.Init.CLKPhase = SPI_PHASE_1EDGE;
  hspi1.Init.NSS = SPI_NSS_SOFT;
  hspi1.Init.BaudRatePrescaler = SPI_BAUDRATEPRESCALER_8;
  hspi1.Init.FirstBit = SPI_FIRSTBIT_MSB;
  hspi1.Init.TIMode = SPI_TIMODE_DISABLE;
  hspi1.Init.CRCCalculation = SPI_CRCCALCULATION_DISABLE;
  hspi1.Init.CRCPolynomial = 10;
  if (HAL_SPI_Init(&hspi1) != HAL_OK)
  {
    Error_Handler();
  }

}

static void MX_TIM2_Init(void)
{

  TIM_MasterConfigTypeDef sMasterConfig = {0};
  TIM_IC_InitTypeDef sConfigIC = {0};

  htim2.Instance = TIM2;
  htim2.Init.Prescaler = 1000;
  htim2.Init.CounterMode = TIM_COUNTERMODE_UP;
  htim2.Init.Period = 0xffff;
  htim2.Init.ClockDivision = TIM_CLOCKDIVISION_DIV1;
  htim2.Init.AutoReloadPreload = TIM_AUTORELOAD_PRELOAD_DISABLE;
  if (HAL_TIM_IC_Init(&htim2) != HAL_OK)
  {
    Error_Handler();
  }
  sMasterConfig.MasterOutputTrigger = TIM_TRGO_RESET;
  sMasterConfig.MasterSlaveMode = TIM_MASTERSLAVEMODE_DISABLE;
  if (HAL_TIMEx_MasterConfigSynchronization(&htim2, &sMasterConfig) != HAL_OK)
  {
    Error_Handler();
  }
  sConfigIC.ICPolarity = TIM_INPUTCHANNELPOLARITY_RISING;
  sConfigIC.ICSelection = TIM_ICSELECTION_DIRECTTI;
  sConfigIC.ICPrescaler = TIM_ICPSC_DIV1;
  sConfigIC.ICFilter = 0;
  if (HAL_TIM_IC_ConfigChannel(&htim2, &sConfigIC, TIM_CHANNEL_3) != HAL_OK)
  {
    Error_Handler();
  }
  if (HAL_TIM_IC_ConfigChannel(&htim2, &sConfigIC, TIM_CHANNEL_4) != HAL_OK)
  {
    Error_Handler();
  }

}

static void MX_TIM3_Init(void)
{

  TIM_MasterConfigTypeDef sMasterConfig = {0};
  TIM_IC_InitTypeDef sConfigIC = {0};

  htim3.Instance = TIM3;
  htim3.Init.Prescaler = 1000;
  htim3.Init.CounterMode = TIM_COUNTERMODE_UP;
  htim3.Init.Period = 0xffff;
  htim3.Init.ClockDivision = TIM_CLOCKDIVISION_DIV1;
  htim3.Init.AutoReloadPreload = TIM_AUTORELOAD_PRELOAD_DISABLE;
  if (HAL_TIM_IC_Init(&htim3) != HAL_OK)
  {
    Error_Handler();
  }
  sMasterConfig.MasterOutputTrigger = TIM_TRGO_RESET;
  sMasterConfig.MasterSlaveMode = TIM_MASTERSLAVEMODE_DISABLE;
  if (HAL_TIMEx_MasterConfigSynchronization(&htim3, &sMasterConfig) != HAL_OK)
  {
    Error_Handler();
  }
  sConfigIC.ICPolarity = TIM_INPUTCHANNELPOLARITY_RISING;
  sConfigIC.ICSelection = TIM_ICSELECTION_DIRECTTI;
  sConfigIC.ICPrescaler = TIM_ICPSC_DIV1;
  sConfigIC.ICFilter = 0;
  if (HAL_TIM_IC_ConfigChannel(&htim3, &sConfigIC, TIM_CHANNEL_1) != HAL_OK)
  {
    Error_Handler();
  }
  if (HAL_TIM_IC_ConfigChannel(&htim3, &sConfigIC, TIM_CHANNEL_2) != HAL_OK)
  {
    Error_Handler();
  }

}

static void MX_TIM6_Init(void)
{

  TIM_MasterConfigTypeDef sMasterConfig = {0};

  htim6.Instance = TIM6;
  htim6.Init.Prescaler = 224;
  htim6.Init.CounterMode = TIM_COUNTERMODE_UP;
  htim6.Init.Period = 7199;
  htim6.Init.AutoReloadPreload = TIM_AUTORELOAD_PRELOAD_DISABLE;
  if (HAL_TIM_Base_Init(&htim6) != HAL_OK)
  {
    Error_Handler();
  }
  sMasterConfig.MasterOutputTrigger = TIM_TRGO_UPDATE;
  sMasterConfig.MasterSlaveMode = TIM_MASTERSLAVEMODE_DISABLE;
  if (HAL_TIMEx_MasterConfigSynchronization(&htim6, &sMasterConfig) != HAL_OK)
  {
    Error_Handler();
  }

}

static void MX_USART1_UART_Init(void)
{

  huart1.Instance = USART1;
  huart1.Init.BaudRate = 115200;
  huart1.Init.WordLength = UART_WORDLENGTH_8B;
  huart1.Init.StopBits = UART_STOPBITS_1;
  huart1.Init.Parity = UART_PARITY_NONE;
  huart1.Init.Mode = UART_MODE_TX_RX;
  huart1.Init.HwFlowCtl = UART_HWCONTROL_NONE;
  huart1.Init.OverSampling = UART_OVERSAMPLING_16;
  if (HAL_UART_Init(&huart1) != HAL_OK)
  {
    Error_Handler();
  }

}

static void MX_USART2_UART_Init(void)
{

  huart2.Instance = USART2;
  huart2.Init.BaudRate = 460800;
  huart2.Init.WordLength = UART_WORDLENGTH_8B;
  huart2.Init.StopBits = UART_STOPBITS_1;
  huart2.Init.Parity = UART_PARITY_NONE;
  huart2.Init.Mode = UART_MODE_TX_RX;
  huart2.Init.HwFlowCtl = UART_HWCONTROL_NONE;
  huart2.Init.OverSampling = UART_OVERSAMPLING_16;
  if (HAL_UART_Init(&huart2) != HAL_OK)
  {
    Error_Handler();
  }

}

static void MX_DMA_Init(void)
{

  /* DMA controller clock enable */
  __HAL_RCC_DMA2_CLK_ENABLE();
  __HAL_RCC_DMA1_CLK_ENABLE();

  /* DMA interrupt init */
  /* DMA1_Stream5_IRQn interrupt configuration */
  HAL_NVIC_SetPriority(DMA1_Stream5_IRQn, 0, 0);
  HAL_NVIC_EnableIRQ(DMA1_Stream5_IRQn);
  /* DMA2_Stream0_IRQn interrupt configuration */
  HAL_NVIC_SetPriority(DMA2_Stream0_IRQn, 0, 0);
  HAL_NVIC_EnableIRQ(DMA2_Stream0_IRQn);

}

static void MX_GPIO_Init(void)
{
  GPIO_InitTypeDef GPIO_InitStruct = {0};

  /* GPIO Ports Clock Enable */
  __HAL_RCC_GPIOC_CLK_ENABLE();
  __HAL_RCC_GPIOA_CLK_ENABLE();
  __HAL_RCC_GPIOB_CLK_ENABLE();
  __HAL_RCC_GPIOE_CLK_ENABLE();
  __HAL_RCC_GPIOG_CLK_ENABLE();
  __HAL_RCC_GPIOD_CLK_ENABLE();

  /*Configure GPIO pin Output Level */
  HAL_GPIO_WritePin(GPIOB, LED3_Pin|LED2_Pin, GPIO_PIN_RESET);

  /*Configure GPIO pin Output Level */
  HAL_GPIO_WritePin(GPIOG, SD_CS_Pin|GPIO_PIN_7, GPIO_PIN_RESET);

  /*Configure GPIO pin Output Level */
  HAL_GPIO_WritePin(GPS_Ready_GPIO_Port, GPS_Ready_Pin, GPIO_PIN_SET);

  /*Configure GPIO pin : Log_Switch_Pin */
  GPIO_InitStruct.Pin = Log_Switch_Pin;
  GPIO_InitStruct.Mode = GPIO_MODE_INPUT;
  GPIO_InitStruct.Pull = GPIO_NOPULL;
  HAL_GPIO_Init(Log_Switch_GPIO_Port, &GPIO_InitStruct);

  /*Configure GPIO pins : LED3_Pin LED2_Pin */
  GPIO_InitStruct.Pin = LED3_Pin|LED2_Pin;
  GPIO_InitStruct.Mode = GPIO_MODE_OUTPUT_PP;
  GPIO_InitStruct.Pull = GPIO_NOPULL;
  GPIO_InitStruct.Speed = GPIO_SPEED_FREQ_LOW;
  HAL_GPIO_Init(GPIOB, &GPIO_InitStruct);

  /*Configure GPIO pins : SD_CS_Pin PG7 GPS_Ready_Pin */
  GPIO_InitStruct.Pin = SD_CS_Pin|GPIO_PIN_7|GPS_Ready_Pin;
  GPIO_InitStruct.Mode = GPIO_MODE_OUTPUT_PP;
  GPIO_InitStruct.Pull = GPIO_NOPULL;
  GPIO_InitStruct.Speed = GPIO_SPEED_FREQ_LOW;
  HAL_GPIO_Init(GPIOG, &GPIO_InitStruct);

  /*Configure GPIO pin : GPS_nReset_Pin */
  GPIO_InitStruct.Pin = GPS_nReset_Pin;
  GPIO_InitStruct.Mode = GPIO_MODE_INPUT;
  GPIO_InitStruct.Pull = GPIO_NOPULL;
  HAL_GPIO_Init(GPS_nReset_GPIO_Port, &GPIO_InitStruct);

  /*Configure GPIO pin : SD_Detect_Pin */
  GPIO_InitStruct.Pin = SD_Detect_Pin;
  GPIO_InitStruct.Mode = GPIO_MODE_INPUT;
  GPIO_InitStruct.Pull = GPIO_PULLUP;
  HAL_GPIO_Init(SD_Detect_GPIO_Port, &GPIO_InitStruct);

}

/* USER CODE BEGIN 4 */
void HAL_ADC_ConvHalfCpltCallback(ADC_HandleTypeDef *hadc) {
}

// Called when buffer is completely filled
void HAL_ADC_ConvCpltCallback(ADC_HandleTypeDef *hadc) {
	//averaging code

	for (int i = 0; i < ADC_BUF_LEN; i += 16) { //Increment through the dma buffer
		for (int j = 0; j < 16; j++) { //for each adc channel
			total_ADC[j] += adc_buf[i + j]; //add to an individual sum
		}
	}
	for (int j = 0; j < 16; j++) {//for each adc channel
		raw_ADC[j] = total_ADC[j] / (ADC_BUF_LEN / 16); //divide sum by number of samples to get an averaged value
		total_ADC[j] = 0; //reset sum value
	}
}

//called when UART finished receiving a msg
void HAL_UART_RxCpltCallback(UART_HandleTypeDef *huart){
	char temp_msg[uart_rx_buffer_len];
	sprintf(temp_msg, strtok(uart_rx_buffer, "#"));
	if (memcmp("BESTPOSA", temp_msg,8) == 0){
		sprintf(gps_msg, temp_msg);
		char *token = strtok(gps_msg, ","); //split the message on ',' char
		// loop through the string to extract all other tokens
		int index = 0;
		while (token != NULL) {
			token = strtok(NULL, ","); //split again
			if (index == 10)
				strncpy(latitude, token, 20); //extract latitude value from 10th index
			if (index == 11)
				strncpy(longitude, token, 20); //extract longitude value from 11th index
			if (index == 12) {
				strncpy(altitude, token, 20); //extract altitude value from 12th index
				break;
			}
			index++; //increment
		}
	}
	uart_rx_buffer[0]='\0';
	HAL_UART_Receive_DMA(&huart2, uart_rx_buffer, uart_rx_buffer_len);
}
/* USER CODE END 4 */

void Error_Handler(void)
{
}

/************************ (C) COPYRIGHT STMicroelectronics *****END OF FILE****/
